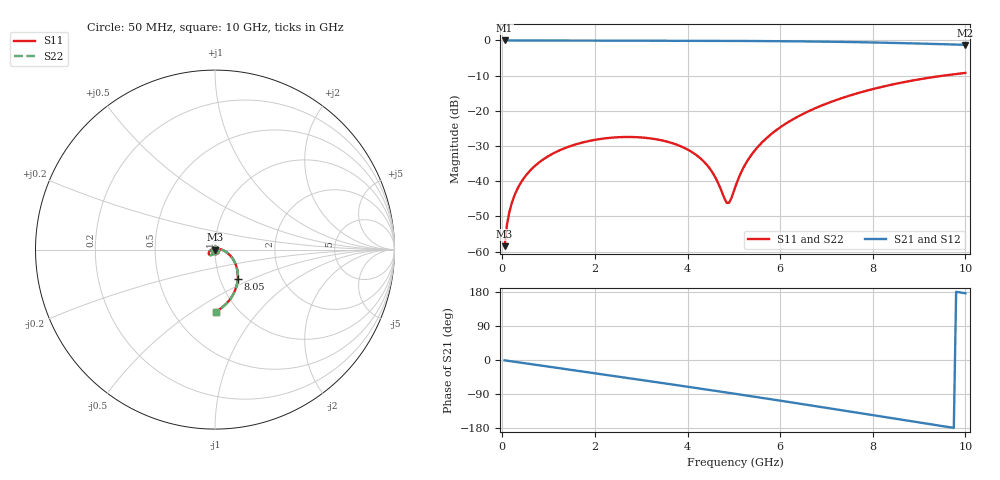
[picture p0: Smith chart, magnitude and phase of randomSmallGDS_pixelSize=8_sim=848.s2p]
! freq	dB(S11)	phase(S11)	dB(S12)	phase(S12)
!  dB(S21)	phase(S21)	dB(S22)	phase(S22)
!S-par simulation data
#  GHz  S  DB  R 50
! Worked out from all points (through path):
!   200 points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, 50 MHz to 10 GHz, reference 50 ohm
!   highest |S21| = 0.00 dB at 50 MHz (marker M1); lowest = -1.2 dB at 10 GHz (marker M2)
!   group delay of S21, straight-line fit = 51.1 ps
!   lowest |S11| = -58.4 dB at 50 MHz (marker M3), VSWR 1.00, Z = 50 - j0.12 ohm
!   |S11| at or under -10 dB: start of sweep to 9.522 GHz
!   |S22| runs from -58.4 to -9.2 dB; largest |S21 - S12| = 0
!   S11 on the Smith chart (normalised r, x): 50 MHz: 1.00, -0.00; 8.05 GHz: 1.21, -0.42; 10 GHz: 0.79, -0.62
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0.05  -58.45 -89.4  -0.00 -0.9  -0.00 -0.9  -58.45 -89.4
0.1  -52.43 -91.1  -0.00 -1.8  -0.00 -1.8  -52.43 -91.1
0.2  -46.42 -93.5  -0.00 -3.5  -0.00 -3.5  -46.42 -93.5
0.35  -41.58 -96.5  -0.01 -6.2  -0.01 -6.2  -41.58 -96.5
0.5  -38.53 -99.3  -0.01 -8.8  -0.01 -8.8  -38.53 -99.4
1  -32.82 -108.6  -0.02 -17.6  -0.02 -17.6  -32.82 -108.6
1.75  -28.93 -122.4  -0.04 -30.7  -0.04 -30.7  -28.93 -122.4
2.6  -27.44 -138.1  -0.06 -45.6  -0.06 -45.6  -27.44 -138.2
3.4  -28.27 -153.7  -0.08 -59.8  -0.08 -59.8  -28.27 -153.8
3.9  -30.33 -164.9  -0.09 -68.7  -0.09 -68.7  -30.33 -165.1
4.3  -33.75 -176.7  -0.10 -75.9  -0.10 -75.9  -33.75 -177.0
4.55  -37.75 170.4  -0.11 -80.4  -0.11 -80.4  -37.72 169.8
4.85  -46.16 106.7  -0.12 -85.9  -0.12 -85.9  -45.88 106.2
4.9  -46.07 82.2  -0.13 -86.8  -0.13 -86.8  -45.78 82.5
5.05  -40.93 35.4  -0.13 -89.6  -0.13 -89.6  -40.82 36.3
5.3  -34.05 12.3  -0.15 -94.2  -0.15 -94.2  -34.02 12.9
5.65  -28.43 -0.9  -0.17 -100.7  -0.17 -100.7  -28.42 -0.6
6.1  -23.81 -12.4  -0.22 -109.1  -0.22 -109.1  -23.80 -12.2
6.7  -19.59 -25.5  -0.29 -120.5  -0.29 -120.5  -19.58 -25.3
8.05  -13.65 -52.4  -0.58 -146.5  -0.58 -146.5  -13.65 -52.3
8.35  -12.73 -58.3  -0.67 -152.3  -0.67 -152.3  -12.72 -58.1
10  -9.23 -89.4  -1.25 176.1  -1.25 176.1  -9.23 -89.3
